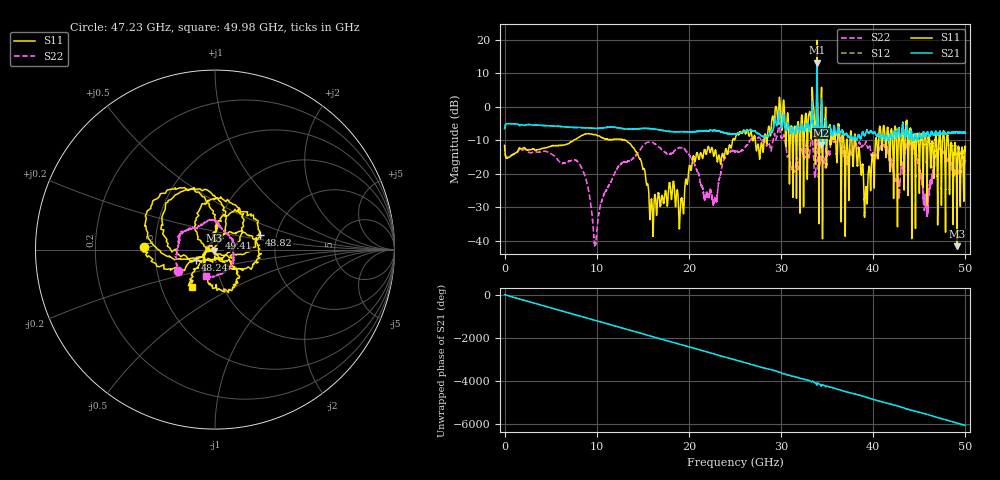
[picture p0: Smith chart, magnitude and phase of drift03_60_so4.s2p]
!Created with skrf (http://scikit-rf.org).
# Hz S RI R 50.0
!freq ReS11 ImS11 ReS21 ImS21 ReS12 ImS12 ReS22 ImS22
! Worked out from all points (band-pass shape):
!   10001 points, 300 kHz to 50 GHz, reference 50 ohm
!   highest |S21| = 13.20 dB at 33.9 GHz (marker M1); lowest = -11.4 dB at 34.32 GHz (marker M2)
!   |S21| within 3 dB of the highest: 33.88989 GHz to 33.90534 GHz (15.46 MHz wide, 0.0456 % of centre)
!   lowest |S11| = -41.6 dB at 49.08 GHz (marker M3), VSWR 1.02, Z = 49.4 - j0.529 ohm
!   |S11| at or under -10 dB: start of sweep to 7.487 GHz; 13.13 GHz to 24.74 GHz (11.61 GHz wide, 61.3 % of centre); 38.09 GHz to 40.26 GHz (2.163 GHz wide, 5.52 % of centre) (the widest 3 of 47)
!   |S22| runs from -41.5 to 5.6 dB; largest |S21 - S12| = 0.34
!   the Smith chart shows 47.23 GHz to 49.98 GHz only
!   S11 on the Smith chart (normalised r, x): 47.23 GHz: 0.43, +0.02; 48.24 GHz: 0.80, -0.09; 48.82 GHz: 1.63, +0.28; 49.41 GHz: 1.03, +0.13; 49.98 GHz: 0.71, -0.32
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300000  -0.2377 -0.1195  0.4659 0.0783  0.4654 0.0811  -0.2344 -0.1272
1.440291e9  0.2099 0.065  -0.5474 -0.0293  -0.5482 -0.0293  0.2116 -0.00399
2.915283e9  -0.2121 -0.0879  0.5344 0.0515  0.5341 0.0514  -0.2018 0.0402
4.415274e9  0.2058 0.132  -0.522 -0.0422  -0.5218 -0.0424  0.1985 -0.0872
8.33525e9  0.2886 -0.2335  0.1463 0.4661  0.1462 0.4664  -0.0729 -0.1014
9.840241e9  -0.3646 0.1255  -0.1433 -0.4536  -0.1433 -0.454  0.00848 0.00191
1.66702e10  0.0272 0.044  -0.3791 0.2533  -0.3785 0.2535  -0.1281 -0.2199
2.500015e10  -0.3272 -0.014  -0.2553 -0.2968  -0.254 -0.2983  -0.2124 0.0286
2.895013e10  -0.323 0.4212  -0.2922 0.3242  -0.3033 0.2874  0.0632 0.2206
3.006512e10  0.4015 0.2645  0.4501 -0.1971  0.454 -0.1835  0.1758 -0.2972
3.171011e10  -0.0906 0.1882  -0.3611 0.3573  -0.36 0.3567  0.0664 0.1587
3.33351e10  0.6307 -0.8161  0.2526 -0.8458  0.2559 -0.831  -0.1935 -0.4267
3.38951e10  -2.216 -9.494  -4.516 0.6998  -4.22 0.8701  0.4587 1.856
3.432009e10  -0.7784 -0.00153  -0.1801 0.2002  -0.2426 0.1796  0.1422 -0.0743
4.167005e10  -0.2035 0.3011  0.3168 0.00314  0.3186 0.00766  -0.1882 -0.00192
4.723002e10  -0.394 0.0167  0.2926 0.3099  0.2951 0.3096  -0.2075 -0.1174
4.823501e10  -0.1083 -0.0552  0.1141 -0.3899  0.116 -0.3941  -0.0137 0.166
4.882001e10  0.2485 0.0812  -0.3514 -0.2166  -0.3517 -0.2176  0.0993 0.0542
4.907501e10  -0.00638 -0.00536  -0.4202 -0.0155  -0.4196 -0.0192  0.0973 0.0125
4.941e10  0.0208 0.0627  -0.3291 0.2502  -0.3298 0.2513  0.1014 -0.0687
4.998e10  -0.1275 -0.209  0.1191 0.3919  0.1218 0.3925  -0.0515 -0.1478
5e10  -0.1147 -0.2237  0.1433 0.3811  0.1416 0.3824  -0.0536 -0.1429
